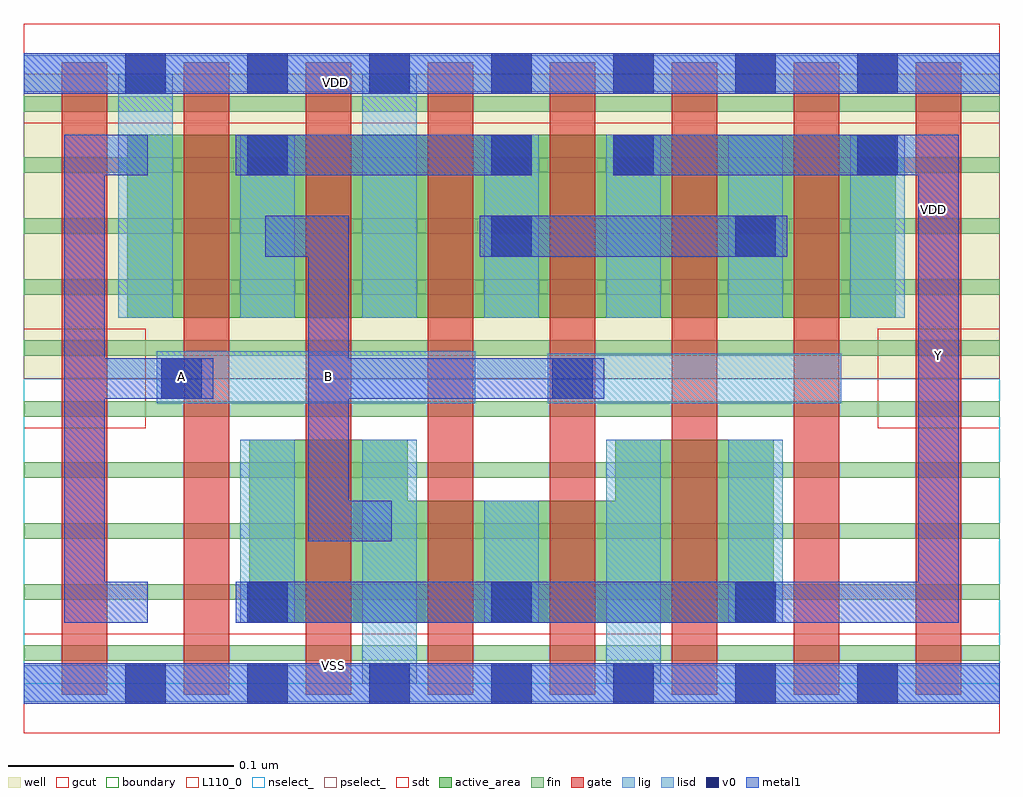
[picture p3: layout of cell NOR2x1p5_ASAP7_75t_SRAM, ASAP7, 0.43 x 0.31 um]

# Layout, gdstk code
import gdstk
lib = gdstk.Library(unit=1e-6, precision=2.5e-10)
def R(c, l, rs):  # rectangles x0, y0, x1, y1
    for r in rs: c.add(gdstk.rectangle(r[:2], r[2:], *l))
def A(c, l, x, y, w, h, nx, ny, dx, dy):  # array of equal rectangles
    R(c, l, [(x+i*dx, y+j*dy, x+i*dx+w, y+j*dy+h) for i in range(nx) for j in range(ny)])
def P(c, l, *ps):  # polygons
    for p in ps: c.add(gdstk.Polygon(p, *l))
well = (1, 0)
fin = (2, 0)
gate = (7, 0)
gcut = (10, 0)
active_area = (11, 0)
nselect_ = (12, 0)
pselect_ = (13, 0)
lig = (16, 0)
lisd = (17, 0)
v0 = (18, 0)
metal1 = (19, 0)
sdt = (88, 0)
boundary = (100, 0)
L110_0 = (110, 0)

nor2x1p5_asap7_75t_sram = lib.new_cell('NOR2x1p5_ASAP7_75t_SRAM')
R(nor2x1p5_asap7_75t_sram, well, [(0,0.135,0.432,0.27)])
A(nor2x1p5_asap7_75t_sram, fin, 0, 0.01, 0.432, 0.007, 1, 10, 0, 0.027)
A(nor2x1p5_asap7_75t_sram, gate, 0.017, -0.005, 0.02, 0.28, 8, 1, 0.054, 0)
R(nor2x1p5_asap7_75t_sram, gcut, [(0,-0.022,0.432,0.022), (0,0.113,0.054,0.157), (0.378,0.113,0.432,0.157), (0,0.248,0.432,0.292)])
R(nor2x1p5_asap7_75t_sram, active_area, [(0.1,0.027,0.17,0.108), (0.1,0.027,0.304,0.081), (0.262,0.027,0.332,0.108), (0.046,0.162,0.386,0.243)])
R(nor2x1p5_asap7_75t_sram, nselect_, [(0,0,0.432,0.135)])
R(nor2x1p5_asap7_75t_sram, pselect_, [(0,0.135,0.432,0.27)])
R(nor2x1p5_asap7_75t_sram, lig, [(0,-0.008,0.432,0.008), (0.059,0.124,0.2,0.147), (0.232,0.124,0.362,0.146), (0,0.262,0.432,0.278)])
A(nor2x1p5_asap7_75t_sram, lisd, 0.204, 0.162, 0.024, 0.081, 4, 1, 0.054, 0)
R(nor2x1p5_asap7_75t_sram, lisd, [(0.15,0,0.174,0.108), (0.258,0,0.282,0.108), (0.096,0.027,0.12,0.108), (0.204,0.027,0.228,0.081), (0.312,0.027,0.336,0.108), (0.042,0.162,0.066,0.27), (0.096,0.162,0.12,0.243), (0.15,0.162,0.174,0.27)])
A(nor2x1p5_asap7_75t_sram, v0, 0.045, -0.009, 0.018, 0.018, 7, 2, 0.054, 0.27)
A(nor2x1p5_asap7_75t_sram, v0, 0.099, 0.027, 0.018, 0.018, 3, 1, 0.108, 0)
R(nor2x1p5_asap7_75t_sram, v0, [(0.061,0.126,0.079,0.144), (0.234,0.126,0.252,0.144), (0.207,0.189,0.225,0.207), (0.315,0.189,0.333,0.207), (0.099,0.225,0.117,0.243), (0.207,0.225,0.225,0.243), (0.261,0.225,0.279,0.243), (0.369,0.225,0.387,0.243)])
R(nor2x1p5_asap7_75t_sram, metal1, [(0,-0.009,0.432,0.009), (0.202,0.189,0.338,0.207), (0.094,0.225,0.225,0.243), (0,0.261,0.432,0.279)])
P(nor2x1p5_asap7_75t_sram, metal1, [(0.414,0.027),(0.094,0.027),(0.094,0.045),(0.396,0.045),(0.396,0.225),(0.261,0.225),(0.261,0.243),(0.414,0.243)],
  [(0.257,0.126),(0.144,0.126),(0.144,0.081),(0.163,0.081),(0.163,0.063),(0.126,0.063),(0.126,0.189),(0.107,0.189),(0.107,0.207),(0.144,0.207),(0.144,0.144),(0.257,0.144)],
  [(0.084,0.126),(0.036,0.126),(0.036,0.045),(0.055,0.045),(0.055,0.027),(0.018,0.027),(0.018,0.243),(0.055,0.243),(0.055,0.225),(0.036,0.225),(0.036,0.144),(0.084,0.144)])
A(nor2x1p5_asap7_75t_sram, sdt, 0.042, 0.162, 0.024, 0.081, 7, 1, 0.054, 0)
R(nor2x1p5_asap7_75t_sram, sdt, [(0.096,0.027,0.12,0.108), (0.15,0.027,0.174,0.108), (0.204,0.027,0.228,0.081), (0.258,0.027,0.282,0.108), (0.312,0.027,0.336,0.108)])
R(nor2x1p5_asap7_75t_sram, boundary, [(0,0,0.432,0.27)])
R(nor2x1p5_asap7_75t_sram, L110_0, [(0,0,0.432,0.27)])
nor2x1p5_asap7_75t_sram.add(gdstk.Label('VSS', (0.113,-0.059), layer=3, texttype=251))
nor2x1p5_asap7_75t_sram.add(gdstk.Label('VDD', (0.403,0.21), layer=1, texttype=251))
nor2x1p5_asap7_75t_sram.add(gdstk.Label('A', (0.07,0.136), layer=19, texttype=251))
nor2x1p5_asap7_75t_sram.add(gdstk.Label('VSS', (0.137,0.008), layer=19, texttype=251))
nor2x1p5_asap7_75t_sram.add(gdstk.Label('VDD', (0.138,0.266), layer=19, texttype=251))
nor2x1p5_asap7_75t_sram.add(gdstk.Label('B', (0.135,0.136), layer=19, texttype=251))
nor2x1p5_asap7_75t_sram.add(gdstk.Label('Y', (0.405,0.145), layer=19, texttype=251))

lib.write_gds('NOR2x1p5_ASAP7_75t_SRAM.gds')
